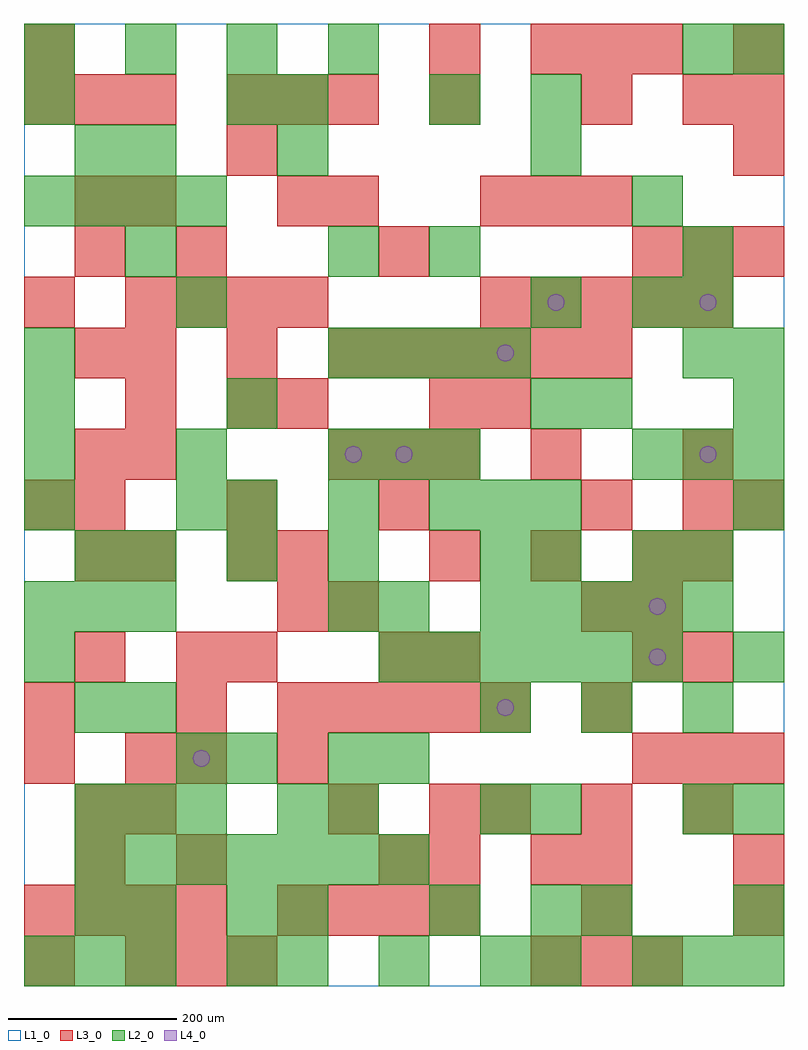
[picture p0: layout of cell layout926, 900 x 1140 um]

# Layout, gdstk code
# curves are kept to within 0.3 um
import gdstk
lib = gdstk.Library(unit=1e-6, precision=1e-09)
def R(c, l, rs):  # rectangles x0, y0, x1, y1
    for r in rs: c.add(gdstk.rectangle(r[:2], r[2:], *l))
def A(c, l, x, y, w, h, nx, ny, dx, dy):  # array of equal rectangles
    R(c, l, [(x+i*dx, y+j*dy, x+i*dx+w, y+j*dy+h) for i in range(nx) for j in range(ny)])
def P(c, l, *ps):  # polygons
    for p in ps: c.add(gdstk.Polygon(p, *l))
L1_0 = (1, 0)
L2_0 = (2, 0)
L3_0 = (3, 0)
L4_0 = (4, 0)

layout926 = lib.new_cell('layout926')
R(layout926, L1_0, [(0,0,900,1140)])
A(layout926, L2_0, 0, 0, 60, 60, 3, 2, 60, 420)
A(layout926, L2_0, 300, 0, 60, 60, 3, 1, 120, 0)
A(layout926, L2_0, 720, 0, 60, 60, 3, 2, 60, 600)
A(layout926, L2_0, 60, 120, 60, 60, 7, 1, 60, 0)
A(layout926, L2_0, 60, 180, 60, 60, 3, 1, 60, 0)
A(layout926, L2_0, 840, 180, 60, 60, 1, 3, 0, 180)
A(layout926, L2_0, 420, 240, 60, 60, 1, 3, 0, 180)
A(layout926, L2_0, 540, 300, 60, 60, 3, 1, 120, 0)
A(layout926, L2_0, 420, 360, 60, 60, 6, 1, 60, 0)
A(layout926, L2_0, 540, 420, 60, 60, 5, 1, 60, 0)
A(layout926, L2_0, 120, 480, 60, 60, 3, 1, 120, 0)
A(layout926, L2_0, 240, 540, 60, 60, 3, 1, 120, 0)
A(layout926, L2_0, 600, 540, 60, 60, 1, 3, 0, 120)
A(layout926, L2_0, 0, 600, 60, 60, 3, 1, 180, 0)
A(layout926, L2_0, 360, 720, 60, 60, 4, 1, 60, 0)
A(layout926, L2_0, 780, 720, 60, 60, 1, 3, 0, 60)
A(layout926, L2_0, 0, 900, 60, 60, 4, 1, 60, 0)
A(layout926, L2_0, 0, 1080, 60, 60, 4, 1, 120, 0)
R(layout926, L2_0, [(240,0,300,60), (600,0,660,60), (60,60,120,120), (120,60,180,120), (240,60,300,120), (300,60,360,120), (480,60,540,120), (600,60,660,120), (660,60,720,120), (840,60,900,120), (300,180,360,240), (360,180,420,240), (540,180,600,240), (600,180,660,240), (780,180,840,240), (180,240,240,300), (240,240,300,300), (360,240,420,300), (60,300,120,360), (120,300,180,360), (0,360,60,420), (360,420,420,480), (60,480,120,540), (540,480,600,540), (600,480,660,540), (720,480,780,540), (780,480,840,540), (0,540,60,600), (180,540,240,600), (540,540,600,600), (480,600,540,660), (0,660,60,720), (240,660,300,720), (660,660,720,720), (840,660,900,720), (0,720,60,780), (840,720,900,780), (180,780,240,840), (720,780,780,840), (120,840,180,900), (360,840,420,900), (480,840,540,900), (720,900,780,960), (60,960,120,1020), (120,960,180,1020), (300,960,360,1020), (600,960,660,1020), (0,1020,60,1080), (240,1020,300,1080), (300,1020,360,1080), (480,1020,540,1080), (600,1020,660,1080), (780,1080,840,1140), (840,1080,900,1140)])
A(layout926, L3_0, 120, 0, 60, 60, 3, 1, 60, 0)
A(layout926, L3_0, 600, 0, 60, 60, 3, 2, 60, 1080)
A(layout926, L3_0, 0, 60, 60, 60, 4, 1, 60, 0)
A(layout926, L3_0, 300, 60, 60, 60, 4, 1, 60, 0)
A(layout926, L3_0, 840, 120, 60, 60, 1, 3, 0, 420)
A(layout926, L3_0, 540, 180, 60, 60, 3, 1, 120, 0)
A(layout926, L3_0, 180, 240, 60, 60, 1, 3, 0, 60)
A(layout926, L3_0, 720, 240, 60, 60, 3, 2, 60, 600)
A(layout926, L3_0, 0, 300, 60, 60, 1, 3, 0, 240)
A(layout926, L3_0, 300, 300, 60, 60, 5, 1, 60, 0)
A(layout926, L3_0, 660, 300, 60, 60, 1, 3, 0, 120)
A(layout926, L3_0, 60, 360, 60, 60, 1, 5, 0, 120)
A(layout926, L3_0, 480, 480, 60, 60, 3, 1, 120, 0)
A(layout926, L3_0, 780, 480, 60, 60, 1, 3, 0, 60)
A(layout926, L3_0, 60, 540, 60, 60, 3, 1, 180, 0)
A(layout926, L3_0, 360, 600, 60, 60, 3, 1, 60, 0)
A(layout926, L3_0, 120, 720, 60, 60, 3, 1, 120, 0)
A(layout926, L3_0, 420, 720, 60, 60, 5, 1, 60, 0)
A(layout926, L3_0, 120, 780, 60, 60, 4, 1, 60, 0)
A(layout926, L3_0, 540, 780, 60, 60, 5, 1, 60, 0)
A(layout926, L3_0, 540, 900, 60, 60, 3, 1, 60, 0)
A(layout926, L3_0, 0, 1020, 60, 60, 3, 1, 60, 0)
A(layout926, L3_0, 240, 1020, 60, 60, 3, 1, 60, 0)
R(layout926, L3_0, [(0,0,60,60), (660,60,720,120), (840,60,900,120), (60,120,120,180), (180,120,240,180), (420,120,480,180), (480,120,540,180), (600,120,660,180), (660,120,720,180), (60,180,120,240), (120,180,180,240), (360,180,420,240), (480,180,540,240), (0,240,60,300), (120,240,180,300), (300,240,360,300), (240,360,300,420), (420,360,480,420), (480,360,540,420), (720,360,780,420), (780,360,840,420), (300,420,360,480), (360,420,420,480), (720,420,780,480), (120,480,180,540), (240,480,300,540), (300,480,360,540), (120,600,180,660), (600,600,660,660), (120,660,180,720), (240,660,300,720), (300,660,360,720), (480,660,540,720), (540,660,600,720), (180,840,240,900), (420,840,480,900), (60,900,120,960), (120,900,180,960), (300,900,360,960), (360,900,420,960), (240,960,300,1020), (480,1020,540,1080), (660,1020,720,1080), (780,1020,840,1080), (840,1020,900,1080), (0,1080,60,1140), (480,1080,540,1140), (840,1080,900,1140)])
P(layout926, L4_0, [(220,270),(219.239,273.827),(217.071,277.071),(213.827,279.239),(210,280),(206.173,279.239),(202.929,277.071),(200.761,273.827),(200,270),(200.761,266.173),(202.929,262.929),(206.173,260.761),(210,260),(213.827,260.761),(217.071,262.929),(219.239,266.173)],
  [(400,630),(399.239,633.827),(397.071,637.071),(393.827,639.239),(390,640),(386.173,639.239),(382.929,637.071),(380.761,633.827),(380,630),(380.761,626.173),(382.929,622.929),(386.173,620.761),(390,620),(393.827,620.761),(397.071,622.929),(399.239,626.173)],
  [(460,630),(459.239,633.827),(457.071,637.071),(453.827,639.239),(450,640),(446.173,639.239),(442.929,637.071),(440.761,633.827),(440,630),(440.761,626.173),(442.929,622.929),(446.173,620.761),(450,620),(453.827,620.761),(457.071,622.929),(459.239,626.173)],
  [(580,330),(579.239,333.827),(577.071,337.071),(573.827,339.239),(570,340),(566.173,339.239),(562.929,337.071),(560.761,333.827),(560,330),(560.761,326.173),(562.929,322.929),(566.173,320.761),(570,320),(573.827,320.761),(577.071,322.929),(579.239,326.173)],
  [(580,750),(579.239,753.827),(577.071,757.071),(573.827,759.239),(570,760),(566.173,759.239),(562.929,757.071),(560.761,753.827),(560,750),(560.761,746.173),(562.929,742.929),(566.173,740.761),(570,740),(573.827,740.761),(577.071,742.929),(579.239,746.173)],
  [(640,810),(639.239,813.827),(637.071,817.071),(633.827,819.239),(630,820),(626.173,819.239),(622.929,817.071),(620.761,813.827),(620,810),(620.761,806.173),(622.929,802.929),(626.173,800.761),(630,800),(633.827,800.761),(637.071,802.929),(639.239,806.173)],
  [(760,390),(759.239,393.827),(757.071,397.071),(753.827,399.239),(750,400),(746.173,399.239),(742.929,397.071),(740.761,393.827),(740,390),(740.761,386.173),(742.929,382.929),(746.173,380.761),(750,380),(753.827,380.761),(757.071,382.929),(759.239,386.173)],
  [(760,450),(759.239,453.827),(757.071,457.071),(753.827,459.239),(750,460),(746.173,459.239),(742.929,457.071),(740.761,453.827),(740,450),(740.761,446.173),(742.929,442.929),(746.173,440.761),(750,440),(753.827,440.761),(757.071,442.929),(759.239,446.173)],
  [(820,630),(819.239,633.827),(817.071,637.071),(813.827,639.239),(810,640),(806.173,639.239),(802.929,637.071),(800.761,633.827),(800,630),(800.761,626.173),(802.929,622.929),(806.173,620.761),(810,620),(813.827,620.761),(817.071,622.929),(819.239,626.173)],
  [(820,810),(819.239,813.827),(817.071,817.071),(813.827,819.239),(810,820),(806.173,819.239),(802.929,817.071),(800.761,813.827),(800,810),(800.761,806.173),(802.929,802.929),(806.173,800.761),(810,800),(813.827,800.761),(817.071,802.929),(819.239,806.173)])

lib.write_gds('layout926.gds')
